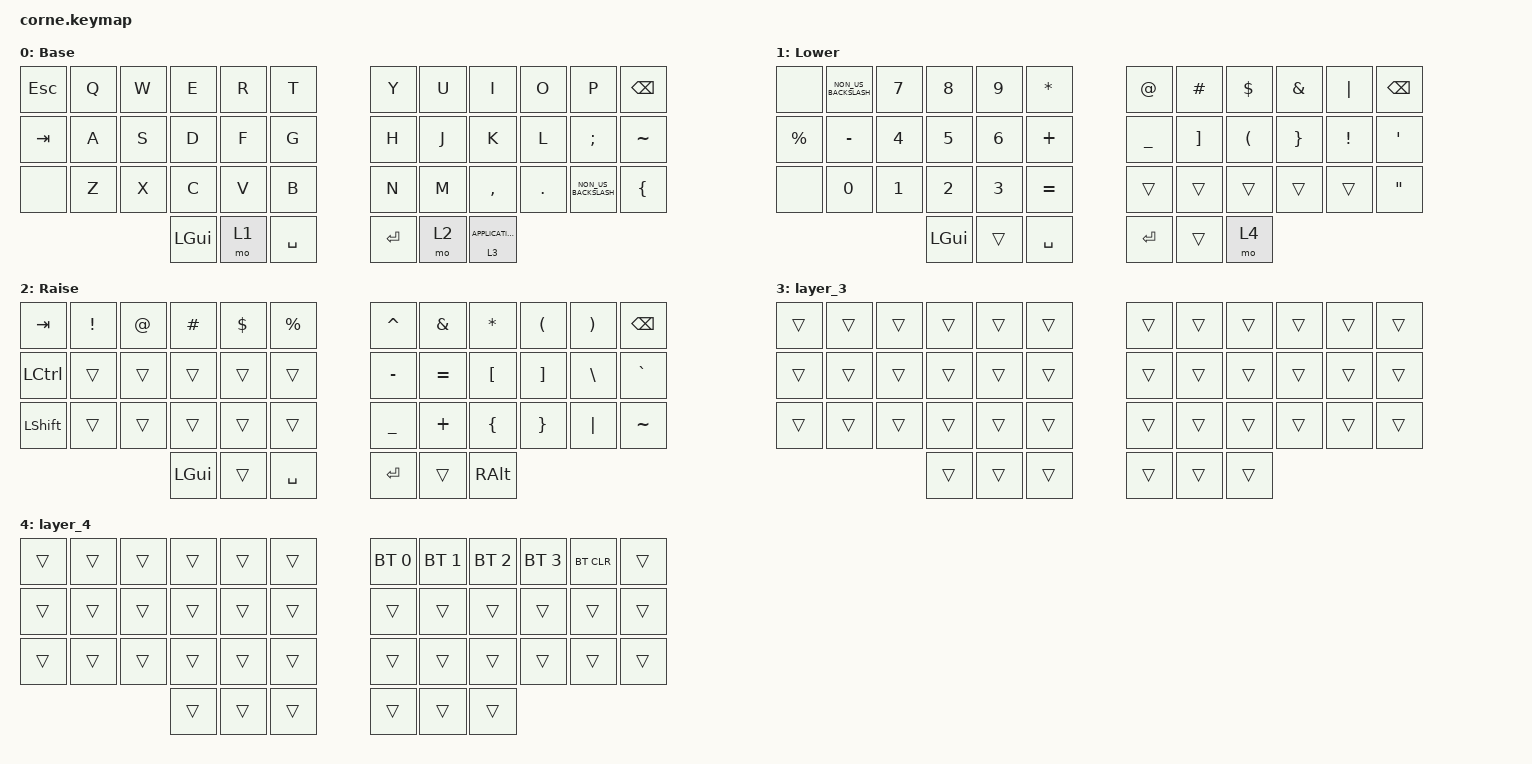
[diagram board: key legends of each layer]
/*
 * Copyright (c) 2020 The ZMK Contributors
 *
 * SPDX-License-Identifier: MIT
 */

#include <behaviors.dtsi>
#include <dt-bindings/zmk/bt.h>
#include <dt-bindings/zmk/keys.h>

&led_strip { chain-length = <27>; };

/ {
    keymap {
        compatible = "zmk,keymap";

        default_layer {
            display-name = "Base";

            // -----------------------------------------------------------------------------------------
            // |  TAB |  Q  |  W  |  E  |  R  |  T  |   |  Y  |  U   |  I  |  O  |  P  | BSPC |
            // | CTRL |  A  |  Q  |  D  |  F  |  G  |   |  H  |  J   |  K  |  L  |  ;  |  '   |
            // | SHFT |  Z  |  X  |  C  |  V  |  B  |   |  N  |  M   |  ,  |  .  |  /  | ESC  |
            //                    | GUI | LWR | SPC |   | ENT | RSE  | ALT |

            bindings = <
&kp ESC  &kp Q  &kp W  &kp E         &kp R  &kp T        &kp Y    &kp U  &kp I                &kp O    &kp P                 &kp BSPC
&kp TAB  &kp A  &kp S  &kp D         &kp F  &kp G        &kp H    &kp J  &kp K                &kp L    &kp SEMI              &kp TILDE
&none    &kp Z  &kp X  &kp C         &kp V  &kp B        &kp N    &kp M  &kp COMMA            &kp DOT  &kp NON_US_BACKSLASH  &kp LEFT_BRACE
                       &kp LEFT_GUI  &mo 1  &kp SPACE    &kp RET  &mo 2  &lt 3 K_APPLICATION
            >;
        };

        lower_layer {
            display-name = "Lower";

            // -----------------------------------------------------------------------------------------
            // |  TAB |  1  |  2  |  3  |  4  |  5  |   |  6  |  7  |  8  |  9  |  0  | BSPC |
            // | BTCLR| BT1 | BT2 | BT3 | BT4 | BT5 |   | LFT | DWN |  UP | RGT |     |      |
            // | SHFT |     |     |     |     |     |   |     |     |     |     |     |      |
            //                    | GUI |     | SPC |   | ENT |     | ALT |

            bindings = <
&none        &kp NON_US_BACKSLASH  &kp N7        &kp N8        &kp N9        &kp STAR     &kp AT     &kp HASH           &kp DLLR  &kp AMPS         &kp PIPE  &kp BSPC
&kp PERCENT  &kp MINUS             &kp NUMBER_4  &kp N5        &kp NUMBER_6  &kp PLUS     &kp UNDER  &kp RIGHT_BRACKET  &kp LPAR  &kp RIGHT_BRACE  &kp EXCL  &kp SQT
&none        &kp N0                &kp NUMBER_1  &kp NUMBER_2  &kp NUMBER_3  &kp EQUAL    &trans     &trans             &trans    &trans           &trans    &kp DOUBLE_QUOTES
                                                 &kp LGUI      &trans        &kp SPACE    &kp RET    &trans             &mo 4
            >;
        };

        raise_layer {
            display-name = "Raise";

            // -----------------------------------------------------------------------------------------
            // |  TAB |  !  |  @  |  #  |  $  |  %  |   |  ^  |  &  |  *  |  (  |  )  | BSPC |
            // | CTRL |     |     |     |     |     |   |  -  |  =  |  [  |  ]  |  \  |  `   |
            // | SHFT |     |     |     |     |     |   |  _  |  +  |  {  |  }  | "|" |  ~   |
            //                    | GUI |     | SPC |   | ENT |     | ALT |

            bindings = <
&kp TAB    &kp EXCL  &kp AT  &kp HASH  &kp DLLR  &kp PRCNT    &kp CARET  &kp AMPS   &kp ASTRK  &kp LPAR  &kp RPAR  &kp BSPC
&kp LCTRL  &trans    &trans  &trans    &trans    &trans       &kp MINUS  &kp EQUAL  &kp LBKT   &kp RBKT  &kp BSLH  &kp GRAVE
&kp LSHFT  &trans    &trans  &trans    &trans    &trans       &kp UNDER  &kp PLUS   &kp LBRC   &kp RBRC  &kp PIPE  &kp TILDE
                             &kp LGUI  &trans    &kp SPACE    &kp RET    &trans     &kp RALT
            >;
        };

        layer_3 {
            bindings = <
&trans  &trans  &trans  &trans  &trans  &trans    &trans  &trans  &trans  &trans  &trans  &trans
&trans  &trans  &trans  &trans  &trans  &trans    &trans  &trans  &trans  &trans  &trans  &trans
&trans  &trans  &trans  &trans  &trans  &trans    &trans  &trans  &trans  &trans  &trans  &trans
                        &trans  &trans  &trans    &trans  &trans  &trans
            >;
        };

        layer_4 {
            bindings = <
&trans  &trans  &trans  &trans  &trans  &trans    &bt BT_SEL 0  &bt BT_SEL 1  &bt BT_SEL 2  &bt BT_SEL 3  &bt BT_CLR  &trans
&trans  &trans  &trans  &trans  &trans  &trans    &trans        &trans        &trans        &trans        &trans      &trans
&trans  &trans  &trans  &trans  &trans  &trans    &trans        &trans        &trans        &trans        &trans      &trans
                        &trans  &trans  &trans    &trans        &trans        &trans
            >;
        };
    };
};
